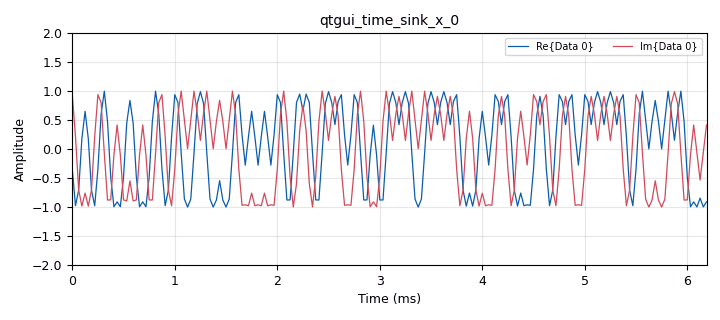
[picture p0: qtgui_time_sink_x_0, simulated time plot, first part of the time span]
options:
  parameters:
    author: thompa
    generate_options: qt_gui
    id: lime_test
    output_language: python
    title: Not titled yet
  states: {}

blocks:
- name: igain
  id: variable_qtgui_entry
  parameters:
    type: int
    value: '1'
  states: {}
- name: samp_rate
  id: variable
  parameters:
    value: '32000'
  states: {}
- name: blocks_message_strobe_0
  id: blocks_message_strobe
  parameters:
    msg: pmt.intern("TEST")
    period: '1000'
  states: {}
- name: blocks_pdu_to_tagged_stream_0
  id: blocks_pdu_to_tagged_stream
  parameters:
    tag: packet_len
    type: byte
  states: {}
- name: blocks_random_pdu_0
  id: blocks_random_pdu
  parameters:
    length_modulo: '2'
    mask: '0xFF'
    maxsize: '2000'
    minsize: '50'
  states: {}
- name: blocks_tagged_stream_multiply_length_0
  id: blocks_tagged_stream_multiply_length
  parameters:
    c: 2*8
    lengthtagname: packet_len
    type: byte
  states: {}
- name: digital_gfsk_mod_0
  id: digital_gfsk_mod
  parameters:
    bt: '0.35'
    samples_per_symbol: '2'
    sensitivity: '1.0'
  states: {}
- name: limesdr_source_0
  id: limesdr_source
  parameters:
    allow_tcxo_dac: '0'
    ch_align: 'False'
    channel_mode: '0'
    gain_dB_ch0: igain
    oversample: '0'
    rf_freq: '435000000'
    samp_rate: samp_rate
  states: {state: disabled}
- name: qtgui_sink_x_0
  id: qtgui_sink_x
  parameters:
    bw: samp_rate
    fc: '0'
    fftsize: '1024'
    type: complex
    wintype: firdes.WIN_BLACKMAN_hARRIS
  states: {state: disabled}
- name: qtgui_time_sink_x_0
  id: qtgui_time_sink_x
  parameters:
    size: '1024'
    srate: samp_rate
    type: complex
    ymax: '2'
    ymin: '-2'
  states: {}
- name: uhd_usrp_sink_0
  id: uhd_usrp_sink
  parameters:
    ant0: TX/RX
    center_freq0: '868000000'
    dev_args: '""'
    gain0: '0'
    len_tag_name: ''
    norm_gain0: 'False'
    samp_rate: samp_rate
    sync: sync
    type: fc32
  states: {}

connections:
- [blocks_message_strobe_0, strobe, blocks_random_pdu_0, generate]
- [blocks_pdu_to_tagged_stream_0, '0', blocks_tagged_stream_multiply_length_0, '0']
- [blocks_random_pdu_0, pdus, blocks_pdu_to_tagged_stream_0, pdus]
- [blocks_tagged_stream_multiply_length_0, '0', digital_gfsk_mod_0, '0']
- [digital_gfsk_mod_0, '0', qtgui_time_sink_x_0, '0']
- [digital_gfsk_mod_0, '0', uhd_usrp_sink_0, '0']
- [limesdr_source_0, '0', qtgui_sink_x_0, '0']

metadata:
  file_format: 1
